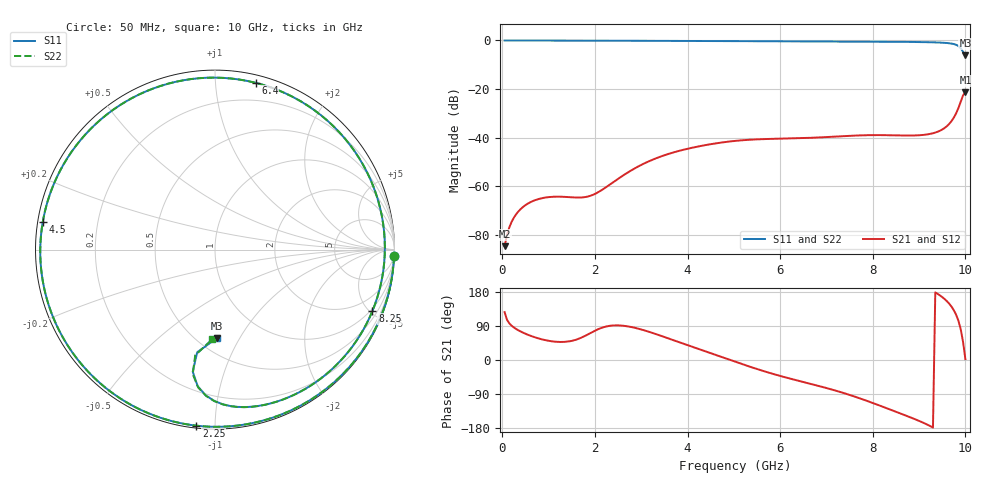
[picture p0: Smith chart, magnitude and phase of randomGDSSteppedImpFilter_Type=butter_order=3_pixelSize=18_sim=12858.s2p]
! freq	dB(S11)	phase(S11)	dB(S12)	phase(S12)
!  dB(S21)	phase(S21)	dB(S22)	phase(S22)
!S-par simulation data
#  GHz  S  DB  R 50
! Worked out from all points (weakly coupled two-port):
!   200 points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, 50 MHz to 10 GHz, reference 50 ohm
!   highest |S21| = -21.32 dB at 10 GHz (marker M1); lowest = -84.7 dB at 50 MHz (marker M2)
!   lowest |S11| = -6.2 dB at 10 GHz (marker M3), VSWR 2.94, Z = 31 - j40.3 ohm
!   |S11| at or under -10 dB: nowhere
!   |S22| runs from -6.0 to 0.0 dB; largest |S21 - S12| = 0
!   S11 on the Smith chart (normalised r, x): 50 MHz: 2, -53; 2.25 GHz: 0.01, -0.90; 4.5 GHz: 0.01, +0.08; 6.4 GHz: 0.06, +1.27; 8.25 GHz: 0.86, -5.19; 10 GHz: 0.62, -0.81
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0.05  -0.02 -2.2  -84.70 126.2  -84.70 126.2  -0.01 -2.2
0.1  -0.02 -4.4  -80.18 106.5  -80.18 106.5  -0.02 -4.4
0.2  -0.02 -8.8  -74.75 90.6  -74.75 90.6  -0.02 -8.8
0.35  -0.02 -15.4  -70.35 78.2  -70.35 78.2  -0.02 -15.4
0.65  -0.04 -28.6  -66.21 62.1  -66.21 62.1  -0.04 -28.6
1.75  -0.09 -75.4  -64.58 61.4  -64.58 61.4  -0.09 -75.4
2.25  -0.12 -96.0  -60.30 88.6  -60.30 88.6  -0.12 -96.0
3.4  -0.18 -142.6  -47.94 65.0  -47.94 65.0  -0.18 -142.6
3.95  -0.21 -165.4  -44.83 41.4  -44.83 41.4  -0.21 -165.4
4.5  -0.25 170.9  -42.71 18.0  -42.71 18.0  -0.25 170.9
5.05  -0.29 145.7  -41.32 -5.4  -41.32 -5.4  -0.29 145.7
5.8  -0.35 108.4  -40.54 -35.1  -40.54 -35.1  -0.35 108.4
6.4  -0.39 76.3  -40.28 -55.0  -40.28 -55.0  -0.39 76.4
6.7  -0.41 59.9  -40.07 -64.3  -40.07 -64.3  -0.41 59.9
7.5  -0.45 16.5  -39.27 -92.1  -39.27 -92.1  -0.45 16.5
8.25  -0.52 -21.3  -39.00 -124.9  -39.00 -124.9  -0.52 -21.2
8.35  -0.54 -26.0  -39.03 -129.5  -39.03 -129.5  -0.54 -25.9
8.95  -0.65 -52.9  -39.09 -158.2  -39.09 -158.2  -0.65 -52.9
9.5  -0.93 -77.1  -36.68 166.0  -36.68 166.0  -0.92 -76.9
9.75  -1.49 -90.4  -31.79 131.4  -31.79 131.4  -1.46 -90.1
9.9  -3.20 -100.3  -25.18 80.7  -25.18 80.7  -3.04 -100.1
10  -6.15 -88.7  -21.32 2.3  -21.32 2.3  -6.03 -91.8
